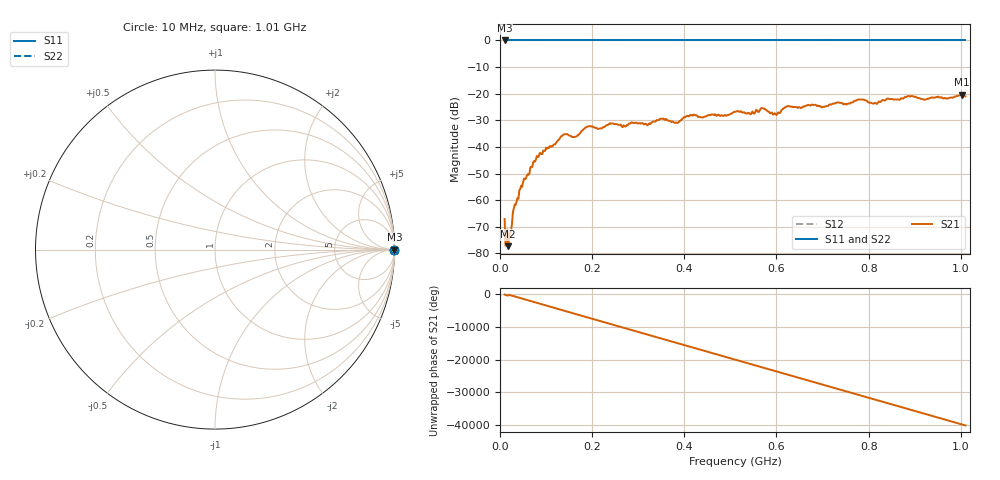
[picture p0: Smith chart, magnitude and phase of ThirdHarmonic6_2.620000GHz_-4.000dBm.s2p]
! 8/17/2025 5:47:23 AM
! C:\ANRITSUVNA\TEMP\TEMP.S2P
! CHANNEL.1
! TR.MEASUREMENT
! RAW.DATA
! RF.CORRECTION.OFF
! AVERAGING.OFF
! IF.BANDWIDTH: 5KHZ
! SWEEPTYPE:  FREQ.SWEEP(Linear)
! Reference Plane Port Info
! PORT:  PORT1  PORT2
! DISTANCE:  0  m  0  m
! TIME:  0  s  0  s
! PHASE.OFFSET:  0  deg.  0  deg.
! LOSS:  0  dB  0  dB
! REF.LOSS:  0  dB  0  dB
! REF.FREQ:  0  Hz  0  Hz
! Power Info
! POWER:  -20  dBm  -20  dBm
! EFF.POWER:  -20  dBm  -20  dBm
! SOURCE.ATTEN:  0  dB  0  dB
! TEST.ATTEN:  0  dB  0  dB
# GHZ S RI R 50.0
! FREQ.GHZ  S11RE  S11IM  S21RE  S21IM  S12RE  S12IM  S22RE  S22IM
!; PortSelection: Port_12
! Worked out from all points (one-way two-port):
!   501 points, 10 MHz to 1.01 GHz, reference 50 ohm
!   highest |S21| = -20.35 dB at 1.002 GHz (marker M1); lowest = -77.3 dB at 18 MHz (marker M2)
!   lowest |S11| = 0.0 dB at 10 MHz (marker M3)
!   |S11| at or under -10 dB: nowhere
!   |S22| runs from 0.0 to 0.0 dB; largest |S21 - S12| = 1.1
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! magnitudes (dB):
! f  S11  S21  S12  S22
! 10 MHz  0.0  -67.1  0.0  0.0
! 16 MHz  0.0  -71.0  0.0  0.0
! 18 MHz  0.0  -77.3  0.0  0.0
! 22 MHz  0.0  -72.5  0.0  0.0
! 32 MHz  0.0  -61.6  0.0  0.0
! 46 MHz  0.0  -54.6  0.0  0.0
! 76 MHz  0.0  -45.5  0.0  0.0
! 136 MHz  0.0  -35.6  0.0  0.0
! 162 MHz  0.0  -36.3  0.0  0.0
! 178 MHz  0.0  -33.9  0.0  0.0
! 192 MHz  0.0  -32.3  0.0  0.0
! 344 MHz  0.0  -29.9  0.0  0.0
! 382 MHz  0.0  -30.8  0.0  0.0
! 416 MHz  0.0  -28.1  0.0  0.0
! 510 MHz  0.0  -26.8  0.0  0.0
! 570 MHz  0.0  -25.4  0.0  0.0
! 596 MHz  0.0  -27.4  0.0  0.0
! 624 MHz  0.0  -24.7  0.0  0.0
! 678 MHz  0.0  -24.1  0.0  0.0
! 844 MHz  0.0  -22.0  0.0  0.0
! 1.002 GHz  0.0  -20.4  0.0  0.0
! 1.01 GHz  0.0  -21.0  0.0  0.0
